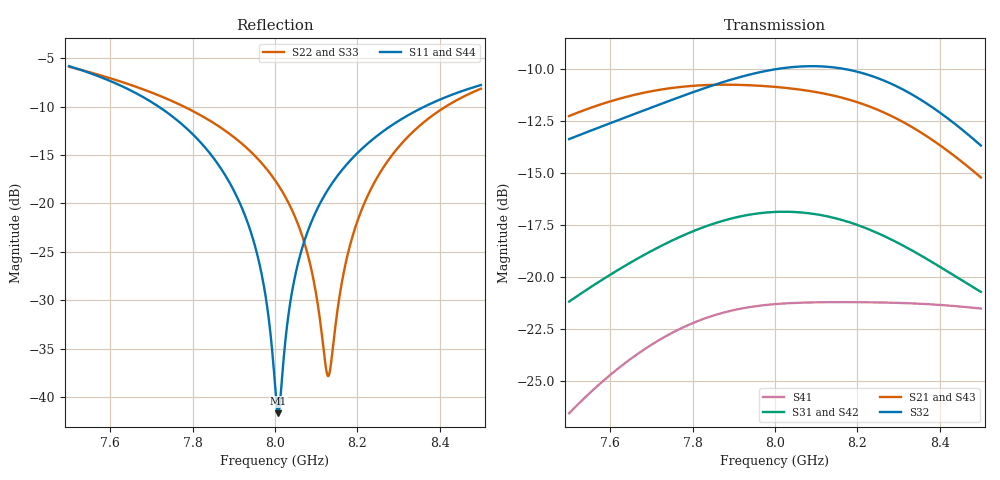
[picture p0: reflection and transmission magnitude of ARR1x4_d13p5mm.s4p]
! Touchstone file exported from HFSS 2025.1.0
!  File:  C:/Users/user/Documents/Ansoft/TFG_UWB-MIMO-Array.aedt
!  Generated:  05:34:55 PM Nov 20, 2026
!  Design:  ARR1x4_P01_MS2_dparam
!  Project:  TFG_UWB-MIMO-Array
!  Setup:  Setup_ch9
!  Solution:  Sweep_7p5_8p5
! Variables:
!  arr_d = 13.5mm
!  board_m = 13mm
!  board_x = 66.5mm
!  board_y = 26mm
!  cu_t = 0.035mm
!  line_w = 3.92mm
!  pad_xy = 22mm
!  pad_zn = 25mm
!  pad_zp = 33mm
!  patch_L = 7.322mm
!  patch_W = 11.421266mm
!  sub_h = 2.07mm
!  tr_l = 7.1mm
!  tr_w = 0.8mm
# GHz S MA R 50.000000
! Terminal data exported
! Port[1] = P1
! Port[2] = P2
! Port[3] = P3
! Port[4] = P4
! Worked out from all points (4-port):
!   1001 points, 7.5 GHz to 8.5 GHz, reference 50 ohm
!   strongest paths, dB at 7.5 GHz, 7.75 GHz, 8 GHz, 8.25 GHz, 8.5 GHz:
!     S32: -13.4, -11.5, -10.0, -10.4, -13.7
!     S21: -12.3, -10.9, -10.9, -12.0, -15.2
!     S43: -12.3, -10.9, -10.9, -12.0, -15.3
!     S31: -21.2, -18.2, -16.9, -17.9, -20.7
!     S42: -21.2, -18.3, -16.9, -18.0, -20.9
!     S41: -26.6, -22.7, -21.3, -21.2, -21.5
!   lowest |S11| = -41.7 dB at 8.008 GHz (marker M1), VSWR 1.02, Z = 50.8 + j0.27 ohm
!   |S11| at or under -10 dB: 7.718 GHz to 8.362 GHz (644.6 MHz wide, 8.02 % of centre)
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7.5  0.5124 164.9  0.2437 -7.0  0.08726 -109.2  0.04701 130.5
     0.2437 -7.0  0.5089 172.8  0.2145 -3.6  0.08698 -109.0
     0.08726 -109.2  0.2145 -3.6  0.5101 172.5  0.2428 -7.0
     0.04701 130.5  0.08698 -109.0  0.2428 -7.0  0.5136 165.1
7.887  0.1311 119.5  0.2898 -71.1  0.1376 161.5  0.08267 3.7
       0.2898 -71.1  0.2312 142.6  0.2967 -59.5  0.1374 161.8
       0.1376 161.5  0.2967 -59.5  0.2312 142.4  0.2895 -71.3
       0.08267 3.7  0.1374 161.8  0.2895 -71.3  0.1323 120.6
7.967  0.04375 103.3  0.2879 -84.6  0.1425 139.3  0.0854 -27.2
       0.2879 -84.6  0.1622 134.3  0.3111 -73.8  0.1421 139.5
       0.1425 139.3  0.3111 -73.8  0.1619 134.2  0.2876 -84.9
       0.0854 -27.2  0.1421 139.5  0.2876 -84.9  0.0443 106.3
8.008  0.008234 18.9  0.2859 -91.6  0.1434 127.4  0.08617 -43.4
       0.2859 -91.6  0.1244 129.1  0.3165 -81.5  0.143 127.7
       0.1434 127.4  0.3165 -81.5  0.124 129.0  0.2855 -91.9
       0.08617 -43.4  0.143 127.7  0.2855 -91.9  0.006138 24.6
8.129  0.1182 -77.7  0.2746 -112.9  0.1397 91.1  0.08696 -91.7
       0.2746 -112.9  0.01282 32.6  0.3199 -105.7  0.1391 91.4
       0.1397 91.1  0.3199 -105.7  0.01175 28.5  0.2739 -113.3
       0.08696 -91.7  0.1391 91.4  0.2739 -113.3  0.1185 -78.7
8.237  0.2142 -89.1  0.2552 -132.7  0.129 57.4  0.08689 -134.0
       0.2552 -132.7  0.1233 -65.8  0.3036 -128.4  0.1282 57.7
       0.129 57.4  0.3036 -128.4  0.1241 -66.9  0.254 -133.2
       0.08689 -134.0  0.1282 57.7  0.254 -133.2  0.2152 -89.9
8.5  0.4093 -115.3  0.1735 -179.1  0.09207 -23.6  0.08394 136.9
     0.1735 -179.1  0.3918 -105.3  0.2069 179.4  0.09066 -23.3
     0.09207 -23.6  0.2069 179.4  0.3919 -105.9  0.172 -179.5
     0.08394 136.9  0.09066 -23.3  0.172 -179.5  0.4104 -115.9
